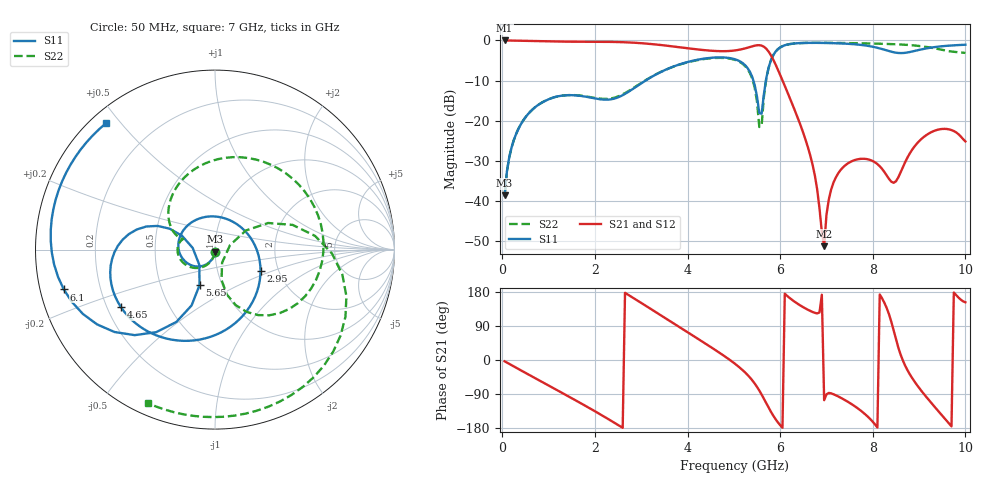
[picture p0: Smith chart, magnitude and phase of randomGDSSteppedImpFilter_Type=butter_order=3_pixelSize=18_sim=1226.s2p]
! freq	dB(S11)	phase(S11)	dB(S12)	phase(S12)
!  dB(S21)	phase(S21)	dB(S22)	phase(S22)
!S-par simulation data
#  GHz  S  DB  R 50
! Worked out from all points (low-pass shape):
!   200 points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, 50 MHz to 10 GHz, reference 50 ohm
!   highest |S21| = 0.00 dB at 50 MHz (marker M1); lowest = -51.3 dB at 6.95 GHz (marker M2)
!   |S21| within 3 dB of the highest: start of sweep to 5.763 GHz
!   lowest |S11| = -38.6 dB at 50 MHz (marker M3), VSWR 1.02, Z = 49.9 - j1.16 ohm
!   |S11| at or under -10 dB: start of sweep to 3.093 GHz; 5.421 GHz to 5.693 GHz (272 MHz wide, 4.89 % of centre)
!   |S22| runs from -38.6 to -0.6 dB; largest |S21 - S12| = 0
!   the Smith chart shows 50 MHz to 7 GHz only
!   S11 on the Smith chart (normalised r, x): 50 MHz: 1.00, -0.02; 2.95 GHz: 1.62, -0.41; 4.65 GHz: 0.26, -0.26; 5.65 GHz: 0.78, -0.32; 6.1 GHz: 0.07, -0.13; 7 GHz: 0.04, +0.46
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0.05  -38.65 -93.1  -0.00 -3.4  -0.00 -3.4  -38.64 -92.8
0.5  -19.17 -125.8  -0.10 -33.9  -0.10 -33.9  -19.17 -122.5
1.75  -13.92 133.4  -0.33 -117.8  -0.33 -117.8  -13.85 170.1
2.95  -11.08 -24.8  -0.64 154.5  -0.64 154.5  -10.97 151.6
3.4  -7.99 -66.7  -1.11 119.8  -1.11 119.8  -7.99 124.5
4.05  -5.24 -112.3  -2.02 69.5  -2.02 69.5  -5.31 70.2
4.65  -4.23 -148.7  -2.66 22.4  -2.66 22.4  -4.35 13.5
5.05  -4.80 -174.8  -2.45 -12.4  -2.45 -12.4  -4.95 -27.3
5.4  -9.20 157.6  -1.46 -54.0  -1.46 -54.0  -9.62 -69.5
5.55  -18.09 175.7  -1.18 -80.7  -1.18 -80.7  -21.59 -61.8
5.65  -13.31 -113.5  -1.57 -102.4  -1.57 -102.4  -13.89 31.7
6.1  -1.20 -165.2  -11.32 175.0  -11.32 175.0  -1.21 -40.7
6.7  -0.60 149.5  -30.97 126.7  -30.97 126.7  -0.59 -94.1
6.95  -0.62 133.9  -51.30 -106.0  -51.30 -106.0  -0.59 -110.6
7  -0.63 130.8  -43.48 -90.8  -43.48 -90.8  -0.60 -113.7
7.25  -0.72 114.4  -33.19 -95.9  -33.19 -95.9  -0.63 -128.7
7.8  -1.19 68.5  -29.50 -139.4  -29.50 -139.4  -0.72 -160.4
8.35  -2.65 -15.7  -34.51 120.8  -34.51 120.8  -0.89 165.5
8.7  -3.08 -97.2  -30.33 -15.0  -30.33 -15.0  -1.07 139.2
9.25  -1.80 171.1  -22.95 -111.2  -22.95 -111.2  -1.79 78.5
9.65  -1.30 134.4  -22.18 -168.1  -22.18 -168.1  -2.68 3.4
10  -1.06 110.9  -25.18 152.3  -25.18 152.3  -3.10 -78.4
